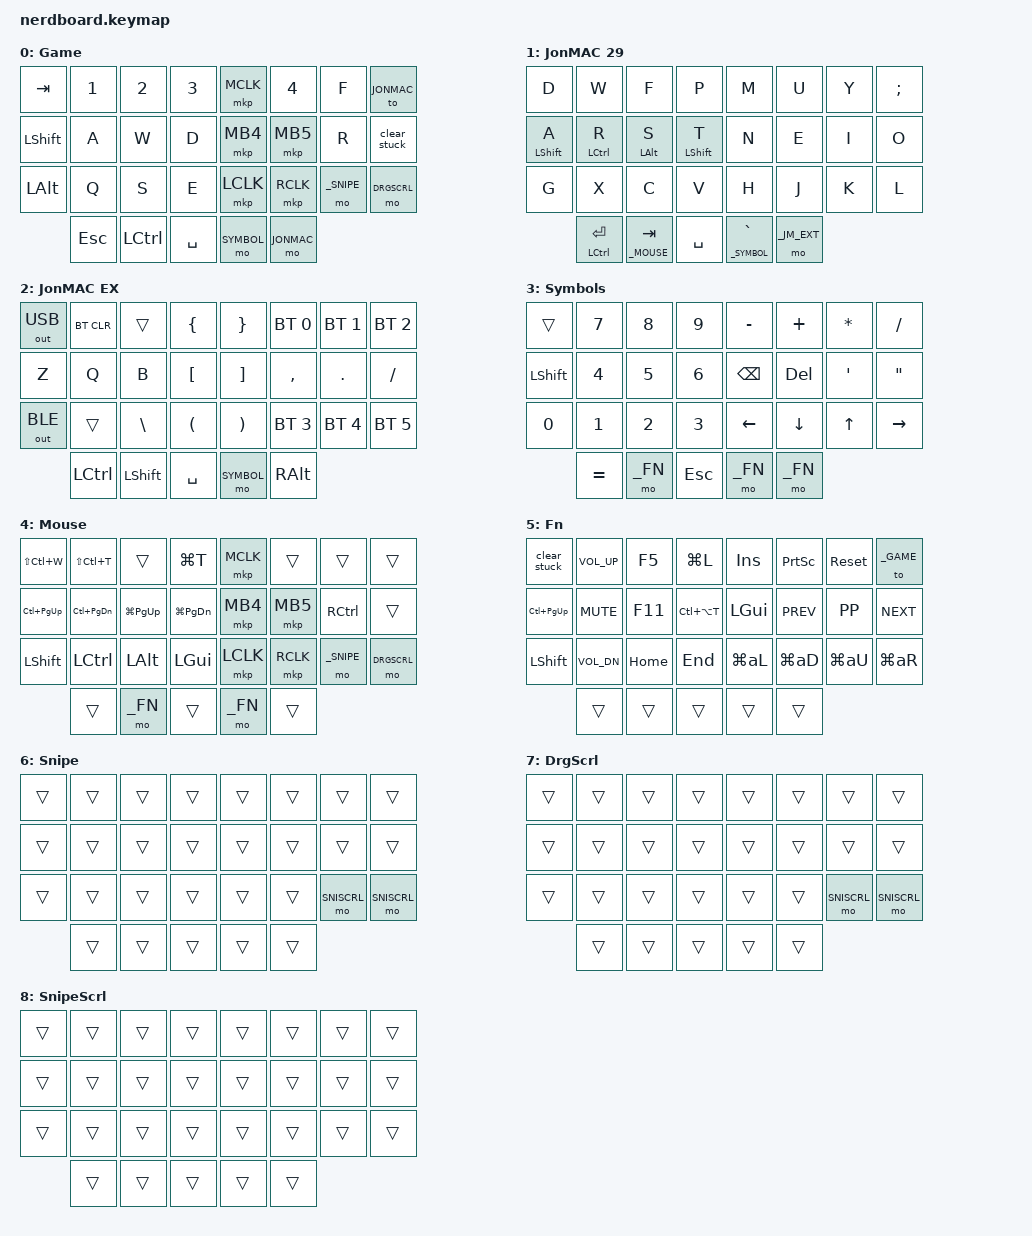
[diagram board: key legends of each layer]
/*
 * Copyright (c) 2020 The ZMK Contributors
 *
 * SPDX-License-Identifier: MIT
 */

#include <behaviors.dtsi>
#include <dt-bindings/zmk/keys.h>
#include <dt-bindings/zmk/bt.h>
#include <dt-bindings/zmk/mouse.h>
#include <dt-bindings/zmk/outputs.h>
#include <input/processors.dtsi>

// layer definitions
// If changing the _SNIPE or _DRGSCRL indexes also update them in boards/shields/nerdboard/nerdboard_right.overlay
#define _GAME    0
#define _JONMAC  1
#define _JM_EXT  2
#define _SYMBOL  3
#define _MOUSE   4
#define _FN      5
#define _SNIPE   6
#define _DRGSCRL 7
#define _SNISCRL 8

// layer modifiers
#define GAME    &to _GAME
#define JONMAC  &to _JONMAC
#define GJONMAC &mo _JONMAC
#define JM_EXT  &mo _JM_EXT
#define SYMBOL  &mo _SYMBOL
#define MOUSE   &mo _MOUSE
#define FN      &mo _FN
#define SNIPE   &mo _SNIPE
#define DRGSCRL &mo _DRGSCRL
#define SNISCRL &mo _SNISCRL

// layer tap
#define MO_TAB &lt _MOUSE  TAB
#define SY_GRV &lt _SYMBOL GRAVE

// alternate keys
#define aL      LEFT
#define aD      DOWN
#define aU      UP
#define aR      RIGHT
#define TERM    LC(LA(T))
#define WS_L    LG(PG_UP)
#define WS_R    LG(PG_DN)
#define T_TAB_L LC(PG_UP)
#define T_TAB_R LC(PG_DN)
#define T_TAB_N LS(LC(T))
#define T_TAB_C LS(LC(W))

/ {
    behaviors {
        hm: homerow_mods {
            compatible = "zmk,behavior-hold-tap";
            #binding-cells = <2>;
            flavor = "tap-preferred";
            tapping-term-ms = <200>;
            quick-tap-ms = <250>;
            require-prior-idle-ms = <125>;
            bindings = <&kp>, <&kp>;
        };
    };

    macros {
        // Macro to clear stuck modifiers and mouse buttons
        clear_stuck: clear_stuck {
            compatible = "zmk,behavior-macro";
            #binding-cells = <0>;
            wait-ms = <10>;
            tap-ms = <10>;
            bindings
                = <&macro_release &kp LSHFT &kp RSHFT &kp LCTRL &kp RCTRL &kp LALT &kp RALT &kp LGUI &kp RGUI>
                , <&macro_release &mkp LCLK &mkp RCLK &mkp MCLK &mkp MB4 &mkp MB5>
                ;
        };
    };

    keymap {
        compatible = "zmk,keymap";

        game_layer {
            display-name = "Game";
            bindings = <
    &kp TAB   &kp N1  &kp N2    &kp N3          &mkp MCLK &kp N4     &kp F  JONMAC
    &kp LSHFT &kp A   &kp W     &kp D           &mkp MB4  &mkp MB5   &kp R  &clear_stuck
    &kp LALT  &kp Q   &kp S     &kp E           &mkp LCLK &mkp RCLK  SNIPE  DRGSCRL
              &kp ESC &kp LCTRL &kp SPACE       SYMBOL    GJONMAC
            >;
        };

        jon_mac_layer {
            display-name = "JonMAC 29";
            bindings = <
    &kp D       &kp W         &kp F       &kp P           &kp M   &kp U  &kp Y  &kp SEMI
    &hm LSHFT A &hm LCTRL R   &hm LALT S  &hm LSHIFT T    &kp N   &kp E  &kp I  &kp O
    &kp G       &kp X         &kp C       &kp V           &kp H   &kp J  &kp K  &kp L
                &hm LCTRL RET MO_TAB      &kp SPACE       SY_GRV  JM_EXT
            >;
        };

        jon_mac_ext_layer {
            display-name = "JonMAC EX";
            bindings = <
    &out OUT_USB &bt BT_CLR &trans    &kp LBRC     &kp RBRC  &bt BT_SEL 0  &bt BT_SEL 1  &bt BT_SEL 2
    &kp Z        &kp Q      &kp B     &kp LBKT     &kp RBKT  &kp COMMA     &kp DOT       &kp FSLH
    &out OUT_BLE &trans     &kp BSLH  &kp LPAR     &kp RPAR  &bt BT_SEL 3  &bt BT_SEL 4  &bt BT_SEL 5
                 &kp LCTRL  &kp LSHFT &kp SPACE    SYMBOL    &kp RALT
            >;
        };

        symbol_layer {
            display-name = "Symbols";
            bindings = <
    &trans    &kp N7    &kp N8    &kp N9     &kp MINUS &kp PLUS  &kp ASTRK &kp FSLH
    &kp LSHFT &kp N4    &kp N5    &kp N6     &kp BSPC  &kp DEL   &kp SQT   &kp DQT
    &kp N0    &kp N1    &kp N2    &kp N3     &kp aL    &kp aD    &kp aU    &kp aR
              &kp EQUAL FN        &kp ESC    FN        FN
            >;
        };

        mouse_layer {
            display-name = "Mouse";
            bindings = <
    &kp T_TAB_C  &kp T_TAB_N  &trans    &kp LG(T)        &mkp MCLK &trans    &trans    &trans
    &kp T_TAB_L  &kp T_TAB_R  &kp WS_L  &kp WS_R         &mkp MB4  &mkp MB5  &kp RCTRL &trans
    &kp LSHFT    &kp LCTRL    &kp LALT  &kp LGUI         &mkp LCLK &mkp RCLK SNIPE     DRGSCRL
                 &trans       FN        &trans           FN        &trans
            >;
        };

        func_layer {
            display-name = "Fn";
            bindings = <
    &clear_stuck &kp K_VOL_UP  &kp F5    &kp LG(L)       &kp INS    &kp PSCRN  &sys_reset GAME
    &kp T_TAB_L  &kp K_MUTE    &kp F11   &kp TERM        &kp LGUI   &kp K_PREV &kp K_PP   &kp K_NEXT
    &kp LSHFT    &kp K_VOL_DN  &kp HOME  &kp END         &kp LG(aL) &kp LG(aD) &kp LG(aU) &kp LG(aR)
                 &trans        &trans    &trans          &trans     &trans
            >;
        };

        snipe_layer {
            display-name = "Snipe";
            bindings = <
    &trans &trans &trans &trans    &trans &trans &trans  &trans
    &trans &trans &trans &trans    &trans &trans &trans  &trans
    &trans &trans &trans &trans    &trans &trans SNISCRL SNISCRL
           &trans &trans &trans    &trans &trans
            >;
        };

        dragscroll_layer {
            display-name = "DrgScrl";
            bindings = <
    &trans &trans &trans &trans    &trans &trans &trans  &trans
    &trans &trans &trans &trans    &trans &trans &trans  &trans
    &trans &trans &trans &trans    &trans &trans SNISCRL SNISCRL
           &trans &trans &trans    &trans &trans
            >;
        };

        snipescroll_layer {
            display-name = "SnipeScrl";
            bindings = <
    &trans &trans &trans &trans    &trans &trans &trans &trans
    &trans &trans &trans &trans    &trans &trans &trans &trans
    &trans &trans &trans &trans    &trans &trans &trans &trans
           &trans &trans &trans    &trans &trans
            >;
        };
    };

};
